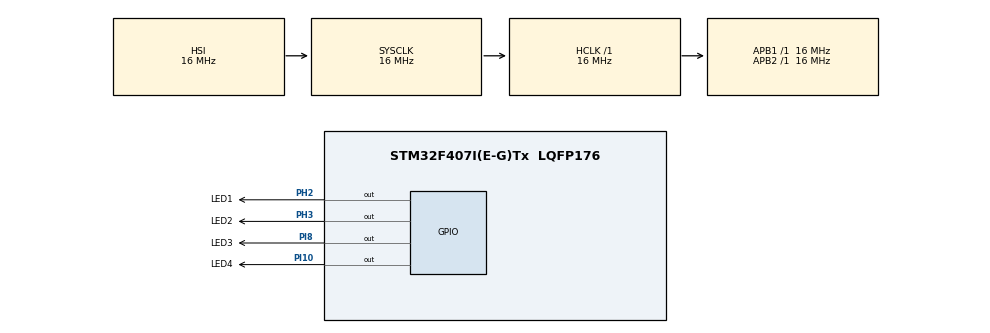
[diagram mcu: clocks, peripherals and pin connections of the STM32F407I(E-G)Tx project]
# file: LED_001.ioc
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Mcu.Family=STM32F4
RCC.CortexFreq_Value=16000000
PI8-\ ANTI\ TAMP2.Signal=GPIO_Output
PI10.Signal=GPIO_Output
ProjectManager.StackSize=0x400
PA13.Signal=SYS_JTMS-SWDIO
ProjectManager.TargetToolchain=Makefile
RCC.LSE_VALUE=32768
RCC.AHBFreq_Value=16000000
RCC.HSE_VALUE=25000000
PB3.Mode=JTAG_5_pins
board=custom
RCC.VCOOutputFreq_Value=192000000
PA15.Mode=JTAG_5_pins
RCC.APB2Freq_Value=16000000
PB4.Mode=JTAG_5_pins
PA14.Mode=JTAG_5_pins
PI8-\ ANTI\ TAMP2.GPIO_Label=LED3
PA13.Mode=JTAG_5_pins
Mcu.Name=STM32F407I(E-G)Tx
PB3.Signal=SYS_JTDO-SWO
RCC.SYSCLKFreq_VALUE=16000000
Mcu.Package=LQFP176
PA14.Signal=SYS_JTCK-SWCLK
PA15.Signal=SYS_JTDI
ProjectManager.HeapSize=0x200
RCC.HSI_VALUE=16000000
PH3.GPIO_Label=LED2
PH2.Signal=GPIO_Output
NVIC.PriorityGroup=NVIC_PRIORITYGROUP_4
PH3.Signal=GPIO_Output
RCC.APB1Freq_Value=16000000
PH2.GPIO_Label=LED1
PB4.Signal=SYS_JTRST
PI10.GPIO_Label=LED4

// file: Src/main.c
/* USER CODE BEGIN Header */
/**
  ******************************************************************************
  * @file           : main.c
  * @brief          : Main program body
  ******************************************************************************
  * @attention
  *
  * <h2><center>&copy; Copyright (c) 2020 STMicroelectronics.
  * All rights reserved.</center></h2>
  *
  * This software component is licensed by ST under BSD 3-Clause license,
  * the "License"; You may not use this file except in compliance with the
  * License. You may obtain a copy of the License at:
  *                        opensource.org/licenses/BSD-3-Clause
  *
  ******************************************************************************
  */
/* USER CODE END Header */

#include "main.h"

void SystemClock_Config(void);
static void MX_GPIO_Init(void);

int main(void)
{

  /* MCU Configuration--------------------------------------------------------*/

  /* Reset of all peripherals, Initializes the Flash interface and the Systick. */
  HAL_Init();

  /* Configure the system clock */
  SystemClock_Config();

  /* Initialize all configured peripherals */
  MX_GPIO_Init();

  /* Infinite loop */
  /* USER CODE BEGIN WHILE */
  while (1)
  {
	HAL_GPIO_WritePin(LED1_GPIO_Port, LED1_Pin, GPIO_PIN_SET);
	HAL_GPIO_WritePin(LED2_GPIO_Port, LED2_Pin, GPIO_PIN_RESET);
	HAL_GPIO_WritePin(LED3_GPIO_Port, LED3_Pin, GPIO_PIN_RESET);
	HAL_GPIO_WritePin(LED4_GPIO_Port, LED4_Pin, GPIO_PIN_RESET);
	HAL_Delay(1000);

	HAL_GPIO_WritePin(LED1_GPIO_Port, LED1_Pin, GPIO_PIN_RESET);
	HAL_GPIO_WritePin(LED2_GPIO_Port, LED2_Pin, GPIO_PIN_SET);
	HAL_GPIO_WritePin(LED3_GPIO_Port, LED3_Pin, GPIO_PIN_RESET);
	HAL_GPIO_WritePin(LED4_GPIO_Port, LED4_Pin, GPIO_PIN_RESET);
	HAL_Delay(1000);

	HAL_GPIO_WritePin(LED1_GPIO_Port, LED1_Pin, GPIO_PIN_RESET);
	HAL_GPIO_WritePin(LED2_GPIO_Port, LED2_Pin, GPIO_PIN_RESET);
	HAL_GPIO_WritePin(LED3_GPIO_Port, LED3_Pin, GPIO_PIN_SET);
	HAL_GPIO_WritePin(LED4_GPIO_Port, LED4_Pin, GPIO_PIN_RESET);
	HAL_Delay(1000);

	HAL_GPIO_WritePin(LED1_GPIO_Port, LED1_Pin, GPIO_PIN_RESET);
	HAL_GPIO_WritePin(LED2_GPIO_Port, LED2_Pin, GPIO_PIN_RESET);
	HAL_GPIO_WritePin(LED3_GPIO_Port, LED3_Pin, GPIO_PIN_RESET);
	HAL_GPIO_WritePin(LED4_GPIO_Port, LED4_Pin, GPIO_PIN_SET);
	HAL_Delay(1000);
    /* USER CODE END WHILE */

  }
}

void SystemClock_Config(void)
{
  RCC_OscInitTypeDef RCC_OscInitStruct = {0};
  RCC_ClkInitTypeDef RCC_ClkInitStruct = {0};

  /** Configure the main internal regulator output voltage
  */
  __HAL_RCC_PWR_CLK_ENABLE();
  __HAL_PWR_VOLTAGESCALING_CONFIG(PWR_REGULATOR_VOLTAGE_SCALE1);
  /** Initializes the CPU, AHB and APB busses clocks
  */
  RCC_OscInitStruct.OscillatorType = RCC_OSCILLATORTYPE_HSI;
  RCC_OscInitStruct.HSIState = RCC_HSI_ON;
  RCC_OscInitStruct.HSICalibrationValue = RCC_HSICALIBRATION_DEFAULT;
  RCC_OscInitStruct.PLL.PLLState = RCC_PLL_NONE;
  if (HAL_RCC_OscConfig(&RCC_OscInitStruct) != HAL_OK)
  {
    Error_Handler();
  }
  /** Initializes the CPU, AHB and APB busses clocks
  */
  RCC_ClkInitStruct.ClockType = RCC_CLOCKTYPE_HCLK|RCC_CLOCKTYPE_SYSCLK
                              |RCC_CLOCKTYPE_PCLK1|RCC_CLOCKTYPE_PCLK2;
  RCC_ClkInitStruct.SYSCLKSource = RCC_SYSCLKSOURCE_HSI;
  RCC_ClkInitStruct.AHBCLKDivider = RCC_SYSCLK_DIV1;
  RCC_ClkInitStruct.APB1CLKDivider = RCC_HCLK_DIV1;
  RCC_ClkInitStruct.APB2CLKDivider = RCC_HCLK_DIV1;

  if (HAL_RCC_ClockConfig(&RCC_ClkInitStruct, FLASH_LATENCY_0) != HAL_OK)
  {
    Error_Handler();
  }
}

static void MX_GPIO_Init(void)
{
  GPIO_InitTypeDef GPIO_InitStruct = {0};

  /* GPIO Ports Clock Enable */
  __HAL_RCC_GPIOI_CLK_ENABLE();
  __HAL_RCC_GPIOH_CLK_ENABLE();
  __HAL_RCC_GPIOA_CLK_ENABLE();
  __HAL_RCC_GPIOB_CLK_ENABLE();

  /*Configure GPIO pin Output Level */
  HAL_GPIO_WritePin(GPIOI, LED3_Pin|LED4_Pin, GPIO_PIN_RESET);

  /*Configure GPIO pin Output Level */
  HAL_GPIO_WritePin(GPIOH, LED1_Pin|LED2_Pin, GPIO_PIN_RESET);

  /*Configure GPIO pins : LED3_Pin LED4_Pin */
  GPIO_InitStruct.Pin = LED3_Pin|LED4_Pin;
  GPIO_InitStruct.Mode = GPIO_MODE_OUTPUT_PP;
  GPIO_InitStruct.Pull = GPIO_NOPULL;
  GPIO_InitStruct.Speed = GPIO_SPEED_FREQ_LOW;
  HAL_GPIO_Init(GPIOI, &GPIO_InitStruct);

  /*Configure GPIO pins : LED1_Pin LED2_Pin */
  GPIO_InitStruct.Pin = LED1_Pin|LED2_Pin;
  GPIO_InitStruct.Mode = GPIO_MODE_OUTPUT_PP;
  GPIO_InitStruct.Pull = GPIO_NOPULL;
  GPIO_InitStruct.Speed = GPIO_SPEED_FREQ_LOW;
  HAL_GPIO_Init(GPIOH, &GPIO_InitStruct);

}

void Error_Handler(void)
{
}

/************************ (C) COPYRIGHT STMicroelectronics *****END OF FILE****/
